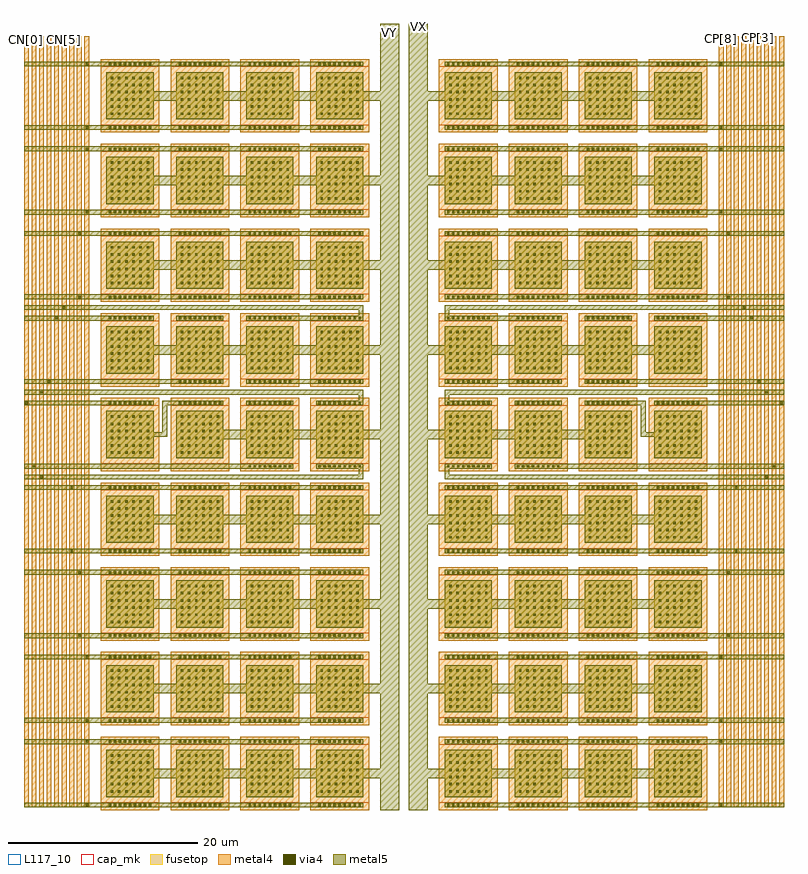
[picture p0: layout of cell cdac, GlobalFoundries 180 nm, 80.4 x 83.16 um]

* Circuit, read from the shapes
.subckt cdac CN[0] CN[1] CN[2] CN[3] CN[4] CN[5] CN[6] CN[7] CN[8] CP[0] CP[1] CP[2] CP[3] CP[4] CP[5] CP[6] CP[7] CP[8] VX VY
XC1 VY CN[8] cap_mim_2f0fF c_width=5u c_length=5u m=16
XC2 VY CN[7] cap_mim_2f0fF c_width=5u c_length=5u m=8
XC3 VY CN[6] cap_mim_2f0fF c_width=5u c_length=5u m=4
XC4 n1 CN[0] cap_mim_2f0fF c_width=5u c_length=5u
XC5 VY CN[4] cap_mim_2f0fF c_width=5u c_length=5u
XC6 VY n1 cap_mim_2f0fF c_width=5u c_length=5u
XC7 VY CN[3] cap_mim_2f0fF c_width=5u c_length=5u
XC8 VY CN[1] cap_mim_2f0fF c_width=5u c_length=5u
XC9 VY CN[5] cap_mim_2f0fF c_width=5u c_length=5u m=2
XC10 VY CN[2] cap_mim_2f0fF c_width=5u c_length=5u
XC11 VX CP[8] cap_mim_2f0fF c_width=5u c_length=5u m=16
XC12 VX CP[7] cap_mim_2f0fF c_width=5u c_length=5u m=8
XC13 VX CP[6] cap_mim_2f0fF c_width=5u c_length=5u m=4
XC14 VX CP[2] cap_mim_2f0fF c_width=5u c_length=5u
XC15 VX CP[5] cap_mim_2f0fF c_width=5u c_length=5u m=2
XC16 VX CP[1] cap_mim_2f0fF c_width=5u c_length=5u
XC17 VX n2 cap_mim_2f0fF c_width=5u c_length=5u
XC18 VX CP[3] cap_mim_2f0fF c_width=5u c_length=5u
XC19 n2 CP[0] cap_mim_2f0fF c_width=5u c_length=5u
XC20 VX CP[4] cap_mim_2f0fF c_width=5u c_length=5u
.ends

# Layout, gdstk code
from math import pi, radians
import gdstk
lib = gdstk.Library(unit=1e-6, precision=1e-09)
def R(c, l, rs):  # rectangles x0, y0, x1, y1
    for r in rs: c.add(gdstk.rectangle(r[:2], r[2:], *l))
def A(c, l, x, y, w, h, nx, ny, dx, dy):  # array of equal rectangles
    R(c, l, [(x+i*dx, y+j*dy, x+i*dx+w, y+j*dy+h) for i in range(nx) for j in range(ny)])
via4 = (41, 0)
metal4 = (46, 0)
fusetop = (75, 0)
metal5 = (81, 0)
cap_mk = (117, 5)
L117_10 = (117, 10)

cap_mim = lib.new_cell('cap_mim')
A(cap_mim, via4, 0.47, 0.47, 0.26, 0.26, 6, 6, 0.76, 0.76)
R(cap_mim, metal4, [(-0.6,-0.6,5.6,5.6)])
R(cap_mim, fusetop, [(0,0,5,5)])
R(cap_mim, metal5, [(0,0,5,5)])
R(cap_mim, cap_mk, [(-0.6,-0.6,5.6,5.6)])
R(cap_mim, L117_10, [(0,0,5,0.1)])

via_dev = lib.new_cell('via_dev')
A(via_dev, via4, 0.25, 0.12, 0.26, 0.26, 9, 1, 0.53, 0)
R(via_dev, metal4, [(0,0,5,0.5)])
R(via_dev, metal5, [(0,0,5,0.5)])

via_dev_2 = lib.new_cell('via_dev$2')
R(via_dev_2, via4, [(0.12,0.12,0.38,0.38)])
R(via_dev_2, metal4, [(0,0,0.5,0.5)])
R(via_dev_2, metal5, [(0,0,0.5,0.5)])

cdac = lib.new_cell('cdac')
A(cdac, metal4, 8.1, 0.01, 6.2, 0.78, 4, 2, 7.4, 6.98)
A(cdac, metal4, 43.9, 0.01, 6.2, 0.78, 4, 2, 7.4, 6.98)
A(cdac, metal4, 8.1, 8.97, 6.2, 0.78, 4, 2, 7.4, 6.98)
A(cdac, metal4, 43.9, 8.97, 6.2, 0.78, 4, 2, 7.4, 6.98)
A(cdac, metal4, 8.1, 17.93, 6.2, 0.78, 4, 2, 7.4, 6.98)
A(cdac, metal4, 43.9, 17.93, 6.2, 0.78, 4, 2, 7.4, 6.98)
A(cdac, metal4, 8.1, 26.89, 6.2, 0.78, 4, 2, 7.4, 6.98)
A(cdac, metal4, 43.9, 26.89, 6.2, 0.78, 4, 2, 7.4, 6.98)
A(cdac, metal4, 8.1, 35.85, 6.2, 0.78, 4, 2, 7.4, 6.98)
A(cdac, metal4, 43.9, 35.85, 6.2, 0.78, 4, 2, 7.4, 6.98)
A(cdac, metal4, 8.1, 44.81, 6.2, 0.78, 4, 2, 7.4, 6.98)
A(cdac, metal4, 43.9, 44.81, 6.2, 0.78, 4, 2, 7.4, 6.98)
A(cdac, metal4, 8.1, 53.77, 6.2, 0.78, 4, 2, 7.4, 6.98)
A(cdac, metal4, 43.9, 53.77, 6.2, 0.78, 4, 2, 7.4, 6.98)
A(cdac, metal4, 8.1, 62.73, 6.2, 0.78, 4, 2, 7.4, 6.98)
A(cdac, metal4, 43.9, 62.73, 6.2, 0.78, 4, 2, 7.4, 6.98)
A(cdac, metal4, 8.1, 71.69, 6.2, 0.78, 4, 2, 7.4, 6.98)
A(cdac, metal4, 43.9, 71.69, 6.2, 0.78, 4, 2, 7.4, 6.98)
R(cdac, metal5, [(0,36.13,23.5,36.63), (56.9,36.13,80.4,36.63), (0,42.83,13.7,43.33), (66.7,42.83,80.4,43.33), (0,45.09,21.1,45.59), (28.5,45.09,30.9,45.59), (49.5,45.09,51.9,45.59), (59.3,45.09,80.4,45.59), (0,51.79,13.7,52.29), (28.5,51.79,30.9,52.29), (49.5,51.79,51.9,52.29), (66.7,51.79,80.4,52.29)])
cdac.add(gdstk.FlexPath([(73.75,81.88),(73.75,0.29)], 0.5, ends="flush", simple_path=True, layer=46, datatype=0))  # metal4
cdac.add(gdstk.FlexPath([(74.55,81.88),(74.55,0.29)], 0.5, ends="flush", simple_path=True, layer=46, datatype=0))  # metal4
cdac.add(gdstk.FlexPath([(75.35,81.88),(75.35,0.29)], 0.5, ends="flush", simple_path=True, layer=46, datatype=0))  # metal4
cdac.add(gdstk.FlexPath([(76.15,81.88),(76.15,0.29)], 0.5, ends="flush", simple_path=True, layer=46, datatype=0))  # metal4
cdac.add(gdstk.FlexPath([(76.95,81.88),(76.95,0.29)], 0.5, ends="flush", simple_path=True, layer=46, datatype=0))  # metal4
cdac.add(gdstk.FlexPath([(78.55,81.88),(78.55,0.29)], 0.5, ends="flush", simple_path=True, layer=46, datatype=0))  # metal4
cdac.add(gdstk.FlexPath([(77.75,81.88),(77.75,0.29)], 0.5, ends="flush", simple_path=True, layer=46, datatype=0))  # metal4
cdac.add(gdstk.FlexPath([(79.35,81.88),(79.35,0.29)], 0.5, ends="flush", simple_path=True, layer=46, datatype=0))  # metal4
cdac.add(gdstk.FlexPath([(80.15,81.88),(80.15,0.29)], 0.5, ends="flush", simple_path=True, layer=46, datatype=0))  # metal4
cdac.add(gdstk.FlexPath([(0.25,81.88),(0.25,0.29)], 0.5, ends="flush", simple_path=True, layer=46, datatype=0))  # metal4
cdac.add(gdstk.FlexPath([(1.05,81.88),(1.05,0.29)], 0.5, ends="flush", simple_path=True, layer=46, datatype=0))  # metal4
cdac.add(gdstk.FlexPath([(2.65,81.88),(2.65,0.29)], 0.5, ends="flush", simple_path=True, layer=46, datatype=0))  # metal4
cdac.add(gdstk.FlexPath([(1.85,81.88),(1.85,0.29)], 0.5, ends="flush", simple_path=True, layer=46, datatype=0))  # metal4
cdac.add(gdstk.FlexPath([(3.45,81.88),(3.45,0.29)], 0.5, ends="flush", simple_path=True, layer=46, datatype=0))  # metal4
cdac.add(gdstk.FlexPath([(4.25,81.88),(4.25,0.29)], 0.5, ends="flush", simple_path=True, layer=46, datatype=0))  # metal4
cdac.add(gdstk.FlexPath([(5.05,81.88),(5.05,0.29)], 0.5, ends="flush", simple_path=True, layer=46, datatype=0))  # metal4
cdac.add(gdstk.FlexPath([(5.85,81.88),(5.85,0.29)], 0.5, ends="flush", simple_path=True, layer=46, datatype=0))  # metal4
cdac.add(gdstk.FlexPath([(6.65,81.88),(6.65,0.29)], 0.5, ends="flush", simple_path=True, layer=46, datatype=0))  # metal4
cdac.add(gdstk.FlexPath([(44.5,34.12),(80.4,34.12)], 0.5, ends="flush", simple_path=True, layer=81, datatype=0))  # metal5
cdac.add(gdstk.FlexPath([(44.5,27.42),(80.4,27.42)], 0.5, ends="flush", simple_path=True, layer=81, datatype=0))  # metal5
cdac.add(gdstk.FlexPath([(44.5,25.16),(80.4,25.16)], 0.5, ends="flush", simple_path=True, layer=81, datatype=0))  # metal5
cdac.add(gdstk.FlexPath([(44.5,18.46),(80.4,18.46)], 0.5, ends="flush", simple_path=True, layer=81, datatype=0))  # metal5
cdac.add(gdstk.FlexPath([(44.5,53.17),(80.4,53.17)], 0.5, ends="flush", simple_path=True, layer=81, datatype=0))  # metal5
cdac.add(gdstk.FlexPath([(44.5,44.21),(80.4,44.21)], 0.5, ends="flush", simple_path=True, layer=81, datatype=0))  # metal5
cdac.add(gdstk.FlexPath([(44.75,51.79),(44.75,53.42)], 0.5, ends="flush", simple_path=True, layer=81, datatype=0))  # metal5
cdac.add(gdstk.FlexPath([(66.7,39.73),(65.5,39.73),(65.5,43.08),(64.3,43.08)], 0.5, ends="flush", simple_path=True, layer=81, datatype=0))  # metal5
cdac.add(gdstk.FlexPath([(66.7,48.69),(41.83,48.69)], 1, ends="flush", simple_path=True, layer=81, datatype=0))  # metal5
cdac.add(gdstk.FlexPath([(59.3,39.73),(41.83,39.73)], 1, ends="flush", simple_path=True, layer=81, datatype=0))  # metal5
cdac.add(gdstk.FlexPath([(44.5,16.2),(80.4,16.2)], 0.5, ends="flush", simple_path=True, layer=81, datatype=0))  # metal5
cdac.add(gdstk.FlexPath([(44.5,9.5),(80.4,9.5)], 0.5, ends="flush", simple_path=True, layer=81, datatype=0))  # metal5
cdac.add(gdstk.FlexPath([(44.5,7.24),(80.4,7.24)], 0.5, ends="flush", simple_path=True, layer=81, datatype=0))  # metal5
cdac.add(gdstk.FlexPath([(44.5,0.54),(80.4,0.54)], 0.5, ends="flush", simple_path=True, layer=81, datatype=0))  # metal5
cdac.add(gdstk.FlexPath([(44.5,78.92),(80.4,78.92)], 0.5, ends="flush", simple_path=True, layer=81, datatype=0))  # metal5
cdac.add(gdstk.FlexPath([(44.5,72.22),(80.4,72.22)], 0.5, ends="flush", simple_path=True, layer=81, datatype=0))  # metal5
cdac.add(gdstk.FlexPath([(44.5,69.96),(80.4,69.96)], 0.5, ends="flush", simple_path=True, layer=81, datatype=0))  # metal5
cdac.add(gdstk.FlexPath([(44.5,63.26),(80.4,63.26)], 0.5, ends="flush", simple_path=True, layer=81, datatype=0))  # metal5
cdac.add(gdstk.FlexPath([(44.5,61),(80.4,61)], 0.5, ends="flush", simple_path=True, layer=81, datatype=0))  # metal5
cdac.add(gdstk.FlexPath([(44.5,54.3),(80.4,54.3)], 0.5, ends="flush", simple_path=True, layer=81, datatype=0))  # metal5
cdac.add(gdstk.FlexPath([(66.7,75.57),(41.77,75.57)], 1, ends="flush", simple_path=True, layer=81, datatype=0))  # metal5
cdac.add(gdstk.FlexPath([(66.7,66.61),(41.77,66.61)], 1, ends="flush", simple_path=True, layer=81, datatype=0))  # metal5
cdac.add(gdstk.FlexPath([(66.7,57.65),(41.77,57.65)], 1, ends="flush", simple_path=True, layer=81, datatype=0))  # metal5
cdac.add(gdstk.FlexPath([(44.52,35.25),(80.4,35.25)], 0.5, ends="flush", simple_path=True, layer=81, datatype=0))  # metal5
cdac.add(gdstk.FlexPath([(44.75,42.83),(44.75,44.46)], 0.5, ends="flush", simple_path=True, layer=81, datatype=0))  # metal5
cdac.add(gdstk.FlexPath([(44.75,35),(44.75,36.63)], 0.5, ends="flush", simple_path=True, layer=81, datatype=0))  # metal5
cdac.add(gdstk.FlexPath([(66.7,30.77),(41.77,30.77)], 1, ends="flush", simple_path=True, layer=81, datatype=0))  # metal5
cdac.add(gdstk.FlexPath([(66.7,21.81),(41.77,21.81)], 1, ends="flush", simple_path=True, layer=81, datatype=0))  # metal5
cdac.add(gdstk.FlexPath([(66.7,12.85),(41.77,12.85)], 1, ends="flush", simple_path=True, layer=81, datatype=0))  # metal5
cdac.add(gdstk.FlexPath([(66.7,3.89),(41.77,3.89)], 1, ends="flush", simple_path=True, layer=81, datatype=0))  # metal5
cdac.add(gdstk.FlexPath([(41.7,0.01),(41.7,83.17)], 2, ends="flush", simple_path=True, layer=81, datatype=0))  # metal5
cdac.add(gdstk.FlexPath([(13.7,3.89),(38.63,3.89)], 1, ends="flush", simple_path=True, layer=81, datatype=0))  # metal5
cdac.add(gdstk.FlexPath([(13.7,12.85),(38.63,12.85)], 1, ends="flush", simple_path=True, layer=81, datatype=0))  # metal5
cdac.add(gdstk.FlexPath([(13.7,21.81),(38.63,21.81)], 1, ends="flush", simple_path=True, layer=81, datatype=0))  # metal5
cdac.add(gdstk.FlexPath([(13.7,30.77),(38.63,30.77)], 1, ends="flush", simple_path=True, layer=81, datatype=0))  # metal5
cdac.add(gdstk.FlexPath([(35.65,35),(35.65,36.63)], 0.5, ends="flush", simple_path=True, layer=81, datatype=0))  # metal5
cdac.add(gdstk.FlexPath([(35.65,42.83),(35.65,44.46)], 0.5, ends="flush", simple_path=True, layer=81, datatype=0))  # metal5
cdac.add(gdstk.FlexPath([(35.88,35.25),(0,35.25)], 0.5, ends="flush", simple_path=True, layer=81, datatype=0))  # metal5
cdac.add(gdstk.FlexPath([(13.7,57.65),(38.63,57.65)], 1, ends="flush", simple_path=True, layer=81, datatype=0))  # metal5
cdac.add(gdstk.FlexPath([(13.7,66.61),(38.63,66.61)], 1, ends="flush", simple_path=True, layer=81, datatype=0))  # metal5
cdac.add(gdstk.FlexPath([(13.7,75.57),(38.63,75.57)], 1, ends="flush", simple_path=True, layer=81, datatype=0))  # metal5
cdac.add(gdstk.FlexPath([(35.9,54.3),(0,54.3)], 0.5, ends="flush", simple_path=True, layer=81, datatype=0))  # metal5
cdac.add(gdstk.FlexPath([(35.9,61),(0,61)], 0.5, ends="flush", simple_path=True, layer=81, datatype=0))  # metal5
cdac.add(gdstk.FlexPath([(35.9,63.26),(0,63.26)], 0.5, ends="flush", simple_path=True, layer=81, datatype=0))  # metal5
cdac.add(gdstk.FlexPath([(35.9,69.96),(0,69.96)], 0.5, ends="flush", simple_path=True, layer=81, datatype=0))  # metal5
cdac.add(gdstk.FlexPath([(35.9,72.22),(0,72.22)], 0.5, ends="flush", simple_path=True, layer=81, datatype=0))  # metal5
cdac.add(gdstk.FlexPath([(35.9,78.92),(0,78.92)], 0.5, ends="flush", simple_path=True, layer=81, datatype=0))  # metal5
cdac.add(gdstk.FlexPath([(35.9,0.54),(0,0.54)], 0.5, ends="flush", simple_path=True, layer=81, datatype=0))  # metal5
cdac.add(gdstk.FlexPath([(35.9,7.24),(0,7.24)], 0.5, ends="flush", simple_path=True, layer=81, datatype=0))  # metal5
cdac.add(gdstk.FlexPath([(35.9,9.5),(0,9.5)], 0.5, ends="flush", simple_path=True, layer=81, datatype=0))  # metal5
cdac.add(gdstk.FlexPath([(35.9,16.2),(0,16.2)], 0.5, ends="flush", simple_path=True, layer=81, datatype=0))  # metal5
cdac.add(gdstk.FlexPath([(21.1,39.73),(38.57,39.73)], 1, ends="flush", simple_path=True, layer=81, datatype=0))  # metal5
cdac.add(gdstk.FlexPath([(13.7,48.69),(38.57,48.69)], 1, ends="flush", simple_path=True, layer=81, datatype=0))  # metal5
cdac.add(gdstk.FlexPath([(13.7,39.73),(14.9,39.73),(14.9,43.08),(16.1,43.08)], 0.5, ends="flush", simple_path=True, layer=81, datatype=0))  # metal5
cdac.add(gdstk.FlexPath([(35.65,51.79),(35.65,53.42)], 0.5, ends="flush", simple_path=True, layer=81, datatype=0))  # metal5
cdac.add(gdstk.FlexPath([(35.9,44.21),(0,44.21)], 0.5, ends="flush", simple_path=True, layer=81, datatype=0))  # metal5
cdac.add(gdstk.FlexPath([(35.9,53.17),(0,53.17)], 0.5, ends="flush", simple_path=True, layer=81, datatype=0))  # metal5
cdac.add(gdstk.FlexPath([(35.9,18.46),(0,18.46)], 0.5, ends="flush", simple_path=True, layer=81, datatype=0))  # metal5
cdac.add(gdstk.FlexPath([(35.9,25.16),(0,25.16)], 0.5, ends="flush", simple_path=True, layer=81, datatype=0))  # metal5
cdac.add(gdstk.FlexPath([(35.9,27.42),(0,27.42)], 0.5, ends="flush", simple_path=True, layer=81, datatype=0))  # metal5
cdac.add(gdstk.FlexPath([(35.9,34.12),(0,34.12)], 0.5, ends="flush", simple_path=True, layer=81, datatype=0))  # metal5
cdac.add(gdstk.FlexPath([(38.7,0.01),(38.7,83.17)], 2, ends="flush", simple_path=True, layer=81, datatype=0))  # metal5
cdac.add(gdstk.Reference(cap_mim, (66.7,37.23)))
cdac.add(gdstk.Reference(cap_mim, (59.3,37.23)))
cdac.add(gdstk.Reference(cap_mim, (44.5,37.23)))
cdac.add(gdstk.Reference(cap_mim, (51.9,37.23)))
cdac.add(gdstk.Reference(cap_mim, (13.7,37.23), rotation=pi, x_reflection=True))
cdac.add(gdstk.Reference(cap_mim, (21.1,37.23), rotation=pi, x_reflection=True))
cdac.add(gdstk.Reference(cap_mim, (28.5,37.23), rotation=pi, x_reflection=True))
cdac.add(gdstk.Reference(cap_mim, (35.9,37.23), rotation=pi, x_reflection=True))
cdac.add(gdstk.Reference(cap_mim, (59.3,64.11)))
cdac.add(gdstk.Reference(via_dev, (59.3,69.71)))
cdac.add(gdstk.Reference(cap_mim, (44.5,73.07)))
cdac.add(gdstk.Reference(via_dev, (56.9,63.51), rotation=pi))
cdac.add(gdstk.Reference(via_dev, (49.5,63.51), rotation=pi))
cdac.add(gdstk.Reference(via_dev, (51.9,69.71)))
cdac.add(gdstk.Reference(via_dev, (44.5,69.71)))
cdac.add(gdstk.Reference(cap_mim, (51.9,64.11)))
cdac.add(gdstk.Reference(cap_mim, (44.5,64.11)))
cdac.add(gdstk.Reference(via_dev, (51.9,60.75)))
cdac.add(gdstk.Reference(via_dev, (44.5,60.75)))
cdac.add(gdstk.Reference(cap_mim, (59.3,73.07)))
cdac.add(gdstk.Reference(via_dev, (59.3,78.67)))
cdac.add(gdstk.Reference(cap_mim, (51.9,55.15)))
cdac.add(gdstk.Reference(via_dev, (44.5,42.83)))
cdac.add(gdstk.Reference(via_dev, (51.9,42.83)))
cdac.add(gdstk.Reference(via_dev, (59.3,42.83)))
cdac.add(gdstk.Reference(cap_mim, (59.3,55.15)))
cdac.add(gdstk.Reference(via_dev, (59.3,60.75)))
cdac.add(gdstk.Reference(cap_mim, (44.5,55.15)))
cdac.add(gdstk.Reference(cap_mim, (59.3,46.19)))
cdac.add(gdstk.Reference(via_dev, (59.3,51.79)))
cdac.add(gdstk.Reference(via_dev, (56.9,54.55), rotation=pi))
cdac.add(gdstk.Reference(via_dev, (56.9,45.59), rotation=pi))
cdac.add(gdstk.Reference(via_dev, (49.5,45.59), rotation=pi))
cdac.add(gdstk.Reference(via_dev, (51.9,51.79)))
cdac.add(gdstk.Reference(via_dev, (44.5,51.79)))
cdac.add(gdstk.Reference(cap_mim, (51.9,46.19)))
cdac.add(gdstk.Reference(cap_mim, (44.5,46.19)))
cdac.add(gdstk.Reference(via_dev, (49.5,54.55), rotation=pi))
cdac.add(gdstk.Reference(via_dev, (56.9,72.47), rotation=pi))
cdac.add(gdstk.Reference(cap_mim, (66.7,73.07)))
cdac.add(gdstk.Reference(via_dev, (71.7,63.51), rotation=pi))
cdac.add(gdstk.Reference(cap_mim, (66.7,64.11)))
cdac.add(gdstk.Reference(via_dev, (66.7,69.71)))
cdac.add(gdstk.Reference(via_dev, (64.3,63.51), rotation=pi))
cdac.add(gdstk.Reference(via_dev, (71.7,72.47), rotation=pi))
cdac.add(gdstk.Reference(via_dev, (66.7,78.67)))
cdac.add(gdstk.Reference(via_dev, (64.3,72.47), rotation=pi))
cdac.add(gdstk.Reference(via_dev, (66.7,42.83)))
cdac.add(gdstk.Reference(cap_mim, (66.7,46.19)))
cdac.add(gdstk.Reference(via_dev, (66.7,51.79)))
cdac.add(gdstk.Reference(via_dev, (64.3,45.59), rotation=pi))
cdac.add(gdstk.Reference(via_dev_2, (79.9,42.83)))
cdac.add(gdstk.Reference(via_dev, (71.7,54.55), rotation=pi))
cdac.add(gdstk.Reference(cap_mim, (66.7,55.15)))
cdac.add(gdstk.Reference(via_dev, (66.7,60.75)))
cdac.add(gdstk.Reference(via_dev, (64.3,54.55), rotation=pi))
cdac.add(gdstk.Reference(via_dev_2, (78.3,43.96)))
cdac.add(gdstk.Reference(via_dev_2, (77.5,45.09)))
cdac.add(gdstk.Reference(via_dev_2, (76.7,51.79)))
cdac.add(gdstk.Reference(via_dev_2, (75.9,52.92)))
cdac.add(gdstk.Reference(via_dev_2, (74.3,54.05)))
cdac.add(gdstk.Reference(via_dev_2, (74.3,60.75)))
cdac.add(gdstk.Reference(via_dev_2, (73.5,63.01)))
cdac.add(gdstk.Reference(via_dev_2, (73.5,69.71)))
cdac.add(gdstk.Reference(via_dev_2, (73.5,71.97)))
cdac.add(gdstk.Reference(via_dev_2, (73.5,78.67)))
cdac.add(gdstk.Reference(via_dev, (49.5,72.47), rotation=pi))
cdac.add(gdstk.Reference(via_dev, (51.9,78.67)))
cdac.add(gdstk.Reference(via_dev, (44.5,78.67)))
cdac.add(gdstk.Reference(cap_mim, (51.9,73.07)))
cdac.add(gdstk.Reference(via_dev, (23.5,54.55), x_reflection=True))
cdac.add(gdstk.Reference(via_dev, (21.1,51.79), rotation=pi, x_reflection=True))
cdac.add(gdstk.Reference(cap_mim, (21.1,46.19), rotation=pi, x_reflection=True))
cdac.add(gdstk.Reference(cap_mim, (35.9,55.15), rotation=pi, x_reflection=True))
cdac.add(gdstk.Reference(via_dev, (21.1,60.75), rotation=pi, x_reflection=True))
cdac.add(gdstk.Reference(cap_mim, (21.1,55.15), rotation=pi, x_reflection=True))
cdac.add(gdstk.Reference(via_dev, (21.1,42.83), rotation=pi, x_reflection=True))
cdac.add(gdstk.Reference(via_dev, (28.5,42.83), rotation=pi, x_reflection=True))
cdac.add(gdstk.Reference(via_dev, (35.9,42.83), rotation=pi, x_reflection=True))
cdac.add(gdstk.Reference(cap_mim, (28.5,55.15), rotation=pi, x_reflection=True))
cdac.add(gdstk.Reference(via_dev, (21.1,78.67), rotation=pi, x_reflection=True))
cdac.add(gdstk.Reference(cap_mim, (21.1,73.07), rotation=pi, x_reflection=True))
cdac.add(gdstk.Reference(via_dev, (35.9,60.75), rotation=pi, x_reflection=True))
cdac.add(gdstk.Reference(via_dev, (28.5,60.75), rotation=pi, x_reflection=True))
cdac.add(gdstk.Reference(cap_mim, (35.9,64.11), rotation=pi, x_reflection=True))
cdac.add(gdstk.Reference(cap_mim, (28.5,64.11), rotation=pi, x_reflection=True))
cdac.add(gdstk.Reference(via_dev, (35.9,69.71), rotation=pi, x_reflection=True))
cdac.add(gdstk.Reference(via_dev, (28.5,69.71), rotation=pi, x_reflection=True))
cdac.add(gdstk.Reference(via_dev, (30.9,63.51), x_reflection=True))
cdac.add(gdstk.Reference(via_dev, (23.5,63.51), x_reflection=True))
cdac.add(gdstk.Reference(cap_mim, (35.9,73.07), rotation=pi, x_reflection=True))
cdac.add(gdstk.Reference(via_dev, (21.1,69.71), rotation=pi, x_reflection=True))
cdac.add(gdstk.Reference(cap_mim, (21.1,64.11), rotation=pi, x_reflection=True))
cdac.add(gdstk.Reference(cap_mim, (28.5,73.07), rotation=pi, x_reflection=True))
cdac.add(gdstk.Reference(via_dev, (35.9,78.67), rotation=pi, x_reflection=True))
cdac.add(gdstk.Reference(via_dev, (28.5,78.67), rotation=pi, x_reflection=True))
cdac.add(gdstk.Reference(via_dev, (30.9,72.47), x_reflection=True))
cdac.add(gdstk.Reference(via_dev, (23.5,72.47), x_reflection=True))
cdac.add(gdstk.Reference(via_dev, (30.9,54.55), x_reflection=True))
cdac.add(gdstk.Reference(cap_mim, (35.9,46.19), rotation=pi, x_reflection=True))
cdac.add(gdstk.Reference(cap_mim, (28.5,46.19), rotation=pi, x_reflection=True))
cdac.add(gdstk.Reference(via_dev, (35.9,51.79), rotation=pi, x_reflection=True))
cdac.add(gdstk.Reference(via_dev, (28.5,51.79), rotation=pi, x_reflection=True))
cdac.add(gdstk.Reference(via_dev, (30.9,45.59), x_reflection=True))
cdac.add(gdstk.Reference(via_dev, (23.5,45.59), x_reflection=True))
cdac.add(gdstk.Reference(via_dev_2, (6.9,78.67), rotation=pi, x_reflection=True))
cdac.add(gdstk.Reference(via_dev_2, (6.9,71.97), rotation=pi, x_reflection=True))
cdac.add(gdstk.Reference(via_dev_2, (6.9,69.71), rotation=pi, x_reflection=True))
cdac.add(gdstk.Reference(via_dev_2, (6.9,63.01), rotation=pi, x_reflection=True))
cdac.add(gdstk.Reference(via_dev_2, (6.1,60.75), rotation=pi, x_reflection=True))
cdac.add(gdstk.Reference(via_dev_2, (6.1,54.05), rotation=pi, x_reflection=True))
cdac.add(gdstk.Reference(via_dev_2, (4.5,52.92), rotation=pi, x_reflection=True))
cdac.add(gdstk.Reference(via_dev_2, (3.7,51.79), rotation=pi, x_reflection=True))
cdac.add(gdstk.Reference(via_dev_2, (2.9,45.09), rotation=pi, x_reflection=True))
cdac.add(gdstk.Reference(via_dev_2, (2.1,43.96), rotation=pi, x_reflection=True))
cdac.add(gdstk.Reference(via_dev, (16.1,54.55), x_reflection=True))
cdac.add(gdstk.Reference(via_dev, (13.7,60.75), rotation=pi, x_reflection=True))
cdac.add(gdstk.Reference(cap_mim, (13.7,55.15), rotation=pi, x_reflection=True))
cdac.add(gdstk.Reference(via_dev, (8.7,54.55), x_reflection=True))
cdac.add(gdstk.Reference(via_dev_2, (0.5,42.83), rotation=pi, x_reflection=True))
cdac.add(gdstk.Reference(via_dev, (16.1,45.59), x_reflection=True))
cdac.add(gdstk.Reference(via_dev, (13.7,51.79), rotation=pi, x_reflection=True))
cdac.add(gdstk.Reference(cap_mim, (13.7,46.19), rotation=pi, x_reflection=True))
cdac.add(gdstk.Reference(via_dev, (13.7,42.83), rotation=pi, x_reflection=True))
cdac.add(gdstk.Reference(via_dev, (16.1,72.47), x_reflection=True))
cdac.add(gdstk.Reference(via_dev, (13.7,78.67), rotation=pi, x_reflection=True))
cdac.add(gdstk.Reference(via_dev, (8.7,72.47), x_reflection=True))
cdac.add(gdstk.Reference(via_dev, (16.1,63.51), x_reflection=True))
cdac.add(gdstk.Reference(via_dev, (13.7,69.71), rotation=pi, x_reflection=True))
cdac.add(gdstk.Reference(cap_mim, (13.7,64.11), rotation=pi, x_reflection=True))
cdac.add(gdstk.Reference(via_dev, (8.7,63.51), x_reflection=True))
cdac.add(gdstk.Reference(cap_mim, (13.7,73.07), rotation=pi, x_reflection=True))
cdac.add(gdstk.Reference(via_dev_2, (5.3,33.87), rotation=pi, x_reflection=True))
cdac.add(gdstk.Reference(via_dev, (16.1,0.79), x_reflection=True))
cdac.add(gdstk.Reference(via_dev_2, (1.3,36.13), rotation=pi, x_reflection=True))
cdac.add(gdstk.Reference(via_dev, (16.1,18.71), x_reflection=True))
cdac.add(gdstk.Reference(via_dev_2, (6.1,24.91), rotation=pi, x_reflection=True))
cdac.add(gdstk.Reference(via_dev_2, (6.9,0.29), rotation=pi, x_reflection=True))
cdac.add(gdstk.Reference(via_dev, (13.7,24.91), rotation=pi, x_reflection=True))
cdac.add(gdstk.Reference(cap_mim, (13.7,19.31), rotation=pi, x_reflection=True))
cdac.add(gdstk.Reference(via_dev, (8.7,18.71), x_reflection=True))
cdac.add(gdstk.Reference(via_dev_2, (6.9,6.99), rotation=pi, x_reflection=True))
cdac.add(gdstk.Reference(via_dev_2, (6.9,9.25), rotation=pi, x_reflection=True))
cdac.add(gdstk.Reference(via_dev, (16.1,27.67), x_reflection=True))
cdac.add(gdstk.Reference(via_dev_2, (6.9,15.95), rotation=pi, x_reflection=True))
cdac.add(gdstk.Reference(via_dev_2, (5.3,27.17), rotation=pi, x_reflection=True))
cdac.add(gdstk.Reference(via_dev, (8.7,27.67), x_reflection=True))
cdac.add(gdstk.Reference(via_dev, (16.1,9.75), x_reflection=True))
cdac.add(gdstk.Reference(via_dev, (13.7,33.87), rotation=pi, x_reflection=True))
cdac.add(gdstk.Reference(cap_mim, (13.7,28.27), rotation=pi, x_reflection=True))
cdac.add(gdstk.Reference(via_dev, (13.7,15.95), rotation=pi, x_reflection=True))
cdac.add(gdstk.Reference(cap_mim, (13.7,10.35), rotation=pi, x_reflection=True))
cdac.add(gdstk.Reference(via_dev, (8.7,9.75), x_reflection=True))
cdac.add(gdstk.Reference(cap_mim, (28.5,10.35), rotation=pi, x_reflection=True))
cdac.add(gdstk.Reference(via_dev, (35.9,15.95), rotation=pi, x_reflection=True))
cdac.add(gdstk.Reference(via_dev, (28.5,15.95), rotation=pi, x_reflection=True))
cdac.add(gdstk.Reference(via_dev, (30.9,9.75), x_reflection=True))
cdac.add(gdstk.Reference(via_dev, (23.5,9.75), x_reflection=True))
cdac.add(gdstk.Reference(via_dev, (21.1,15.95), rotation=pi, x_reflection=True))
cdac.add(gdstk.Reference(cap_mim, (21.1,10.35), rotation=pi, x_reflection=True))
cdac.add(gdstk.Reference(cap_mim, (21.1,28.27), rotation=pi, x_reflection=True))
cdac.add(gdstk.Reference(cap_mim, (35.9,19.31), rotation=pi, x_reflection=True))
cdac.add(gdstk.Reference(cap_mim, (28.5,19.31), rotation=pi, x_reflection=True))
cdac.add(gdstk.Reference(via_dev, (35.9,24.91), rotation=pi, x_reflection=True))
cdac.add(gdstk.Reference(via_dev, (28.5,24.91), rotation=pi, x_reflection=True))
cdac.add(gdstk.Reference(cap_mim, (21.1,1.39), rotation=pi, x_reflection=True))
cdac.add(gdstk.Reference(via_dev, (30.9,0.79), x_reflection=True))
cdac.add(gdstk.Reference(via_dev, (23.5,0.79), x_reflection=True))
cdac.add(gdstk.Reference(via_dev, (21.1,6.99), rotation=pi, x_reflection=True))
cdac.add(gdstk.Reference(cap_mim, (35.9,1.39), rotation=pi, x_reflection=True))
cdac.add(gdstk.Reference(cap_mim, (28.5,1.39), rotation=pi, x_reflection=True))
cdac.add(gdstk.Reference(cap_mim, (35.9,28.27), rotation=pi, x_reflection=True))
cdac.add(gdstk.Reference(cap_mim, (28.5,28.27), rotation=pi, x_reflection=True))
cdac.add(gdstk.Reference(via_dev, (35.9,6.99), rotation=pi, x_reflection=True))
cdac.add(gdstk.Reference(via_dev, (35.9,33.87), rotation=pi, x_reflection=True))
cdac.add(gdstk.Reference(via_dev, (28.5,33.87), rotation=pi, x_reflection=True))
cdac.add(gdstk.Reference(via_dev, (28.5,6.99), rotation=pi, x_reflection=True))
cdac.add(gdstk.Reference(via_dev_2, (6.1,18.21), rotation=pi, x_reflection=True))
cdac.add(gdstk.Reference(via_dev, (30.9,27.67), x_reflection=True))
cdac.add(gdstk.Reference(via_dev, (23.5,27.67), x_reflection=True))
cdac.add(gdstk.Reference(via_dev, (23.5,36.63), x_reflection=True))
cdac.add(gdstk.Reference(via_dev, (30.9,36.63), x_reflection=True))
cdac.add(gdstk.Reference(via_dev, (30.9,18.71), x_reflection=True))
cdac.add(gdstk.Reference(via_dev, (21.1,33.87), rotation=pi, x_reflection=True))
cdac.add(gdstk.Reference(via_dev, (13.7,6.99), rotation=pi, x_reflection=True))
cdac.add(gdstk.Reference(cap_mim, (13.7,1.39), rotation=pi, x_reflection=True))
cdac.add(gdstk.Reference(via_dev, (23.5,18.71), x_reflection=True))
cdac.add(gdstk.Reference(via_dev, (21.1,24.91), rotation=pi, x_reflection=True))
cdac.add(gdstk.Reference(cap_mim, (21.1,19.31), rotation=pi, x_reflection=True))
cdac.add(gdstk.Reference(cap_mim, (35.9,10.35), rotation=pi, x_reflection=True))
cdac.add(gdstk.Reference(via_dev, (8.7,0.79), x_reflection=True))
cdac.add(gdstk.Reference(via_dev_2, (2.1,35), rotation=pi, x_reflection=True))
cdac.add(gdstk.Reference(via_dev_2, (78.3,35)))
cdac.add(gdstk.Reference(via_dev, (71.7,0.79), rotation=pi))
cdac.add(gdstk.Reference(cap_mim, (66.7,1.39)))
cdac.add(gdstk.Reference(via_dev, (66.7,6.99)))
cdac.add(gdstk.Reference(via_dev_2, (74.3,18.21)))
cdac.add(gdstk.Reference(via_dev, (71.7,27.67), rotation=pi))
cdac.add(gdstk.Reference(via_dev, (71.7,9.75), rotation=pi))
cdac.add(gdstk.Reference(cap_mim, (66.7,10.35)))
cdac.add(gdstk.Reference(via_dev, (66.7,15.95)))
cdac.add(gdstk.Reference(cap_mim, (66.7,28.27)))
cdac.add(gdstk.Reference(via_dev, (66.7,33.87)))
cdac.add(gdstk.Reference(via_dev, (64.3,9.75), rotation=pi))
cdac.add(gdstk.Reference(via_dev, (64.3,27.67), rotation=pi))
cdac.add(gdstk.Reference(via_dev_2, (75.1,27.17)))
cdac.add(gdstk.Reference(via_dev_2, (73.5,15.95)))
cdac.add(gdstk.Reference(via_dev_2, (73.5,9.25)))
cdac.add(gdstk.Reference(via_dev, (51.9,6.99)))
cdac.add(gdstk.Reference(via_dev, (51.9,33.87)))
cdac.add(gdstk.Reference(via_dev, (44.5,33.87)))
cdac.add(gdstk.Reference(via_dev, (44.5,6.99)))
cdac.add(gdstk.Reference(cap_mim, (51.9,28.27)))
cdac.add(gdstk.Reference(cap_mim, (44.5,28.27)))
cdac.add(gdstk.Reference(cap_mim, (51.9,1.39)))
cdac.add(gdstk.Reference(cap_mim, (44.5,1.39)))
cdac.add(gdstk.Reference(via_dev, (59.3,6.99)))
cdac.add(gdstk.Reference(via_dev, (56.9,0.79), rotation=pi))
cdac.add(gdstk.Reference(via_dev, (49.5,0.79), rotation=pi))
cdac.add(gdstk.Reference(cap_mim, (59.3,1.39)))
cdac.add(gdstk.Reference(via_dev, (51.9,24.91)))
cdac.add(gdstk.Reference(via_dev, (44.5,24.91)))
cdac.add(gdstk.Reference(cap_mim, (51.9,19.31)))
cdac.add(gdstk.Reference(cap_mim, (44.5,19.31)))
cdac.add(gdstk.Reference(cap_mim, (59.3,28.27)))
cdac.add(gdstk.Reference(cap_mim, (59.3,10.35)))
cdac.add(gdstk.Reference(via_dev, (59.3,15.95)))
cdac.add(gdstk.Reference(via_dev, (56.9,9.75), rotation=pi))
cdac.add(gdstk.Reference(via_dev, (49.5,9.75), rotation=pi))
cdac.add(gdstk.Reference(via_dev, (51.9,15.95)))
cdac.add(gdstk.Reference(via_dev, (44.5,15.95)))
cdac.add(gdstk.Reference(cap_mim, (51.9,10.35)))
cdac.add(gdstk.Reference(cap_mim, (44.5,10.35)))
cdac.add(gdstk.Reference(cap_mim, (59.3,19.31)))
cdac.add(gdstk.Reference(via_dev, (59.3,24.91)))
cdac.add(gdstk.Reference(via_dev, (56.9,18.71), rotation=pi))
cdac.add(gdstk.Reference(via_dev_2, (73.5,6.99)))
cdac.add(gdstk.Reference(via_dev, (71.7,18.71), rotation=pi))
cdac.add(gdstk.Reference(via_dev, (59.3,33.87)))
cdac.add(gdstk.Reference(via_dev, (49.5,18.71), rotation=pi))
cdac.add(gdstk.Reference(via_dev, (49.5,36.63), rotation=pi))
cdac.add(gdstk.Reference(via_dev, (56.9,36.63), rotation=pi))
cdac.add(gdstk.Reference(via_dev, (56.9,27.67), rotation=pi))
cdac.add(gdstk.Reference(via_dev, (49.5,27.67), rotation=pi))
cdac.add(gdstk.Reference(cap_mim, (66.7,19.31)))
cdac.add(gdstk.Reference(via_dev, (66.7,24.91)))
cdac.add(gdstk.Reference(via_dev_2, (73.5,0.29)))
cdac.add(gdstk.Reference(via_dev_2, (74.3,24.91)))
cdac.add(gdstk.Reference(via_dev, (64.3,18.71), rotation=pi))
cdac.add(gdstk.Reference(via_dev_2, (79.1,36.13)))
cdac.add(gdstk.Reference(via_dev, (64.3,0.79), rotation=pi))
cdac.add(gdstk.Reference(via_dev_2, (75.1,33.87)))
cdac.add(gdstk.Label('VX', (41.7,82.86), layer=81, texttype=10))
cdac.add(gdstk.Label('VY', (38.7,82.31), layer=81, texttype=10))
cdac.add(gdstk.Label('CP[8]', (73.75,81.62), layer=46, texttype=10))
cdac.add(gdstk.Label('CP[7]', (74.55,81.65), layer=46, texttype=10))
cdac.add(gdstk.Label('CP[6]', (75.35,81.68), layer=46, texttype=10))
cdac.add(gdstk.Label('CP[5]', (76.15,81.69), layer=46, texttype=10))
cdac.add(gdstk.Label('CP[4]', (76.95,81.72), layer=46, texttype=10))
cdac.add(gdstk.Label('CP[3]', (77.75,81.72), layer=46, texttype=10))
cdac.add(gdstk.Label('CP[2]', (78.55,81.72), layer=46, texttype=10))
cdac.add(gdstk.Label('CP[1]', (79.35,81.74), layer=46, texttype=10))
cdac.add(gdstk.Label('CP[0]', (80.15,81.78), layer=46, texttype=10))
cdac.add(gdstk.Label('CN[0]', (0.25,81.49), layer=46, texttype=10))
cdac.add(gdstk.Label('CN[1]', (1.05,81.53), layer=46, texttype=10))
cdac.add(gdstk.Label('CN[2]', (1.85,81.52), layer=46, texttype=10))
cdac.add(gdstk.Label('CN[3]', (2.65,81.51), layer=46, texttype=10))
cdac.add(gdstk.Label('CN[4]', (3.45,81.49), layer=46, texttype=10))
cdac.add(gdstk.Label('CN[5]', (4.25,81.53), layer=46, texttype=10))
cdac.add(gdstk.Label('CN[6]', (5.05,81.5), layer=46, texttype=10))
cdac.add(gdstk.Label('CN[7]', (5.85,81.5), layer=46, texttype=10))
cdac.add(gdstk.Label('CN[8]', (6.65,81.5), layer=46, texttype=10))

lib.write_gds('cdac.gds')
